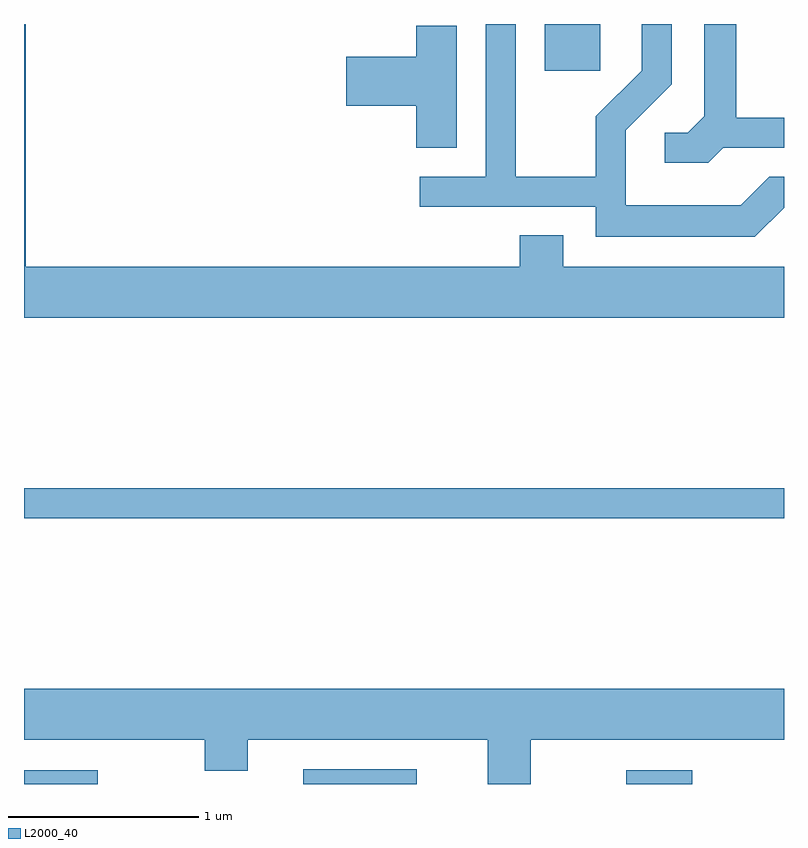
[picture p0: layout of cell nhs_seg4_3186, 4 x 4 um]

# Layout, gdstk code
import gdstk
lib = gdstk.Library(unit=1e-6, precision=1e-09)
def R(c, l, rs):  # rectangles x0, y0, x1, y1
    for r in rs: c.add(gdstk.rectangle(r[:2], r[2:], *l))
def P(c, l, *ps):  # polygons
    for p in ps: c.add(gdstk.Polygon(p, *l))
L2000_40 = (2000, 40)

nhs_seg4_3186 = lib.new_cell('nhs_seg4_3186')
R(nhs_seg4_3186, L2000_40, [(277.611,1369.982,277.998,1370.054), (279.081,1369.982,279.678,1370.059), (280.781,1369.982,281.128,1370.054), (277.611,1371.381,281.611,1371.539), (280.351,1373.736,280.644,1373.982)])
P(nhs_seg4_3186, L2000_40, [(281.611,1372.704),(280.449,1372.704),(280.449,1372.869),(280.221,1372.869),(280.221,1372.704),(277.619,1372.704),(277.619,1373.982),(277.611,1373.982),(277.611,1372.436),(281.611,1372.436)],
  [(281.292,1373.331),(281.611,1373.331),(281.611,1373.489),(281.359,1373.489),(281.359,1373.982),(281.191,1373.982),(281.191,1373.497),(281.104,1373.409),(280.983,1373.409),(280.983,1373.251),(281.212,1373.251)],
  [(281.611,1373.015),(281.611,1373.179),(281.534,1373.179),(281.384,1373.029),(280.779,1373.029),(280.779,1373.424),(281.019,1373.664),(281.019,1373.982),(280.861,1373.982),(280.861,1373.737),(280.621,1373.497),(280.621,1373.179),(280.199,1373.179),(280.199,1373.982),(280.041,1373.982),(280.041,1373.179),(279.693,1373.179),(279.693,1373.021),(280.621,1373.021),(280.621,1372.861),(281.457,1372.861)],
  [(279.889,1373.974),(279.676,1373.974),(279.676,1373.809),(279.306,1373.809),(279.306,1373.551),(279.676,1373.551),(279.676,1373.331),(279.889,1373.331)],
  [(280.279,1370.216),(281.611,1370.216),(281.611,1370.484),(277.611,1370.484),(277.611,1370.216),(278.561,1370.216),(278.561,1370.051),(278.789,1370.051),(278.789,1370.216),(280.051,1370.216),(280.051,1369.982),(280.279,1369.982)])

lib.write_gds('nhs_seg4_3186.gds')
